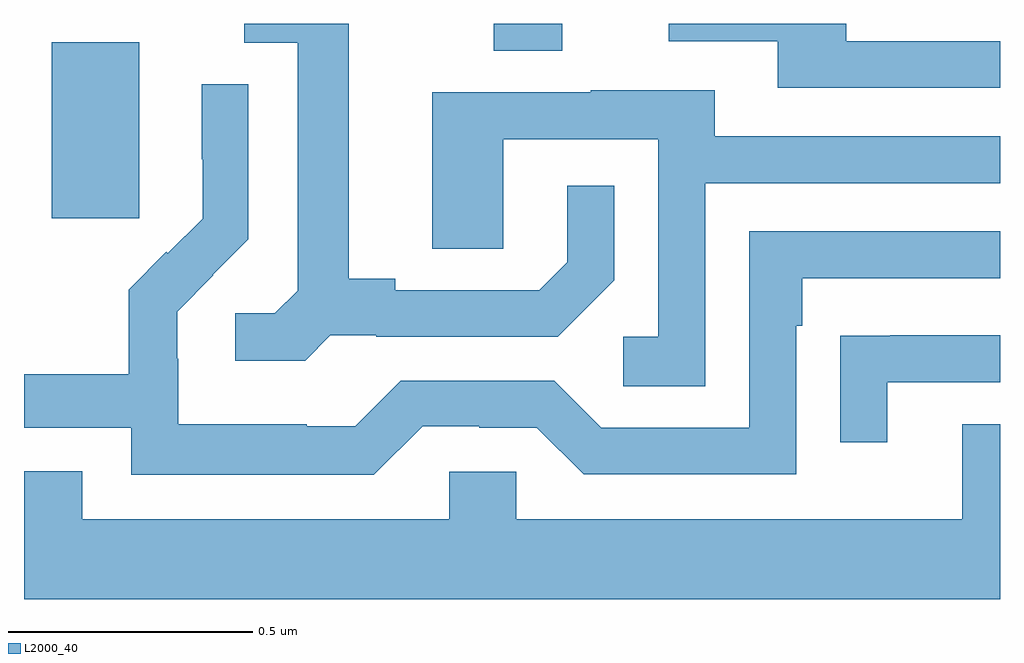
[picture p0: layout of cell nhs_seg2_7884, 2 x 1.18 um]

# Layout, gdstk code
import gdstk
lib = gdstk.Library(unit=1e-6, precision=1e-09)
def R(c, l, rs):  # rectangles x0, y0, x1, y1
    for r in rs: c.add(gdstk.rectangle(r[:2], r[2:], *l))
def P(c, l, *ps):  # polygons
    for p in ps: c.add(gdstk.Polygon(p, *l))
L2000_40 = (2000, 40)

nhs_seg2_7884 = lib.new_cell('nhs_seg2_7884')
R(nhs_seg2_7884, L2000_40, [(209.057,664.401,209.236,664.762), (209.963,664.744,210.103,664.8)])
P(nhs_seg2_7884, L2000_40, [(211,664.764),(210.685,664.764),(210.685,664.8),(210.321,664.8),(210.321,664.764),(210.545,664.764),(210.545,664.668),(211,664.668)],
  [(209.628,664.161),(209.722,664.161),(209.722,664.158),(210.094,664.158),(210.21,664.274),(210.21,664.468),(210.113,664.468),(210.113,664.311),(210.056,664.254),(209.761,664.254),(209.761,664.277),(209.665,664.277),(209.665,664.8),(209.451,664.8),(209.451,664.761),(209.561,664.761),(209.561,664.253),(209.514,664.206),(209.433,664.206),(209.433,664.109),(209.576,664.109)],
  [(209.817,663.975),(209.933,663.975),(209.933,663.972),(210.051,663.972),(210.147,663.876),(210.582,663.876),(210.582,664.181),(210.595,664.181),(210.595,664.278),(211,664.278),(211,664.374),(210.486,664.374),(210.486,663.972),(210.183,663.972),(210.087,664.068),(209.772,664.068),(209.679,663.975),(209.579,663.975),(209.579,663.979),(209.316,663.979),(209.316,664.113),(209.314,664.113),(209.314,664.21),(209.388,664.284),(209.387,664.285),(209.46,664.358),(209.46,664.676),(209.364,664.676),(209.364,664.522),(209.366,664.522),(209.366,664.4),(209.295,664.329),(209.292,664.332),(209.215,664.255),(209.215,664.081),(209,664.081),(209,663.972),(209.22,663.972),(209.22,663.875),(209.717,663.875)],
  [(210.396,664.473),(211,664.473),(211,664.569),(210.415,664.569),(210.415,664.663),(210.161,664.663),(210.161,664.659),(209.837,664.659),(209.837,664.339),(209.982,664.339),(209.982,664.563),(210.3,664.563),(210.3,664.158),(210.228,664.158),(210.228,664.057),(210.396,664.057)],
  [(210.769,664.065),(211,664.065),(211,664.161),(210.775,664.161),(210.775,664.16),(210.673,664.16),(210.673,663.942),(210.769,663.942)],
  [(211,663.979),(210.923,663.979),(210.923,663.784),(210.009,663.784),(210.009,663.882),(209.871,663.882),(209.871,663.784),(209.119,663.784),(209.119,663.883),(209,663.883),(209,663.62),(211,663.62)])

lib.write_gds('nhs_seg2_7884.gds')
